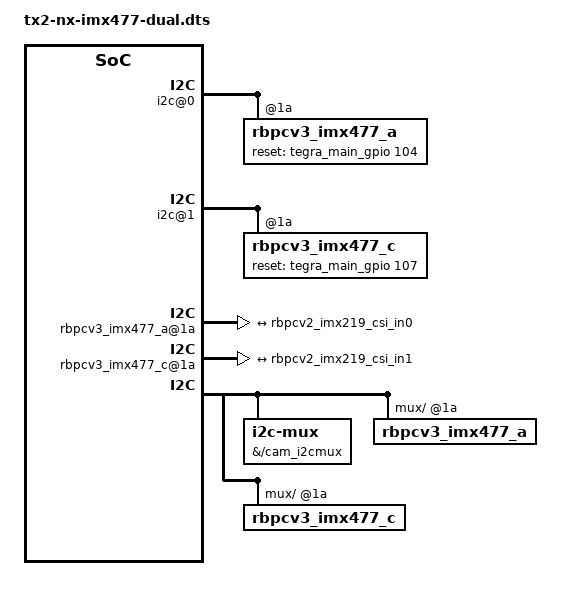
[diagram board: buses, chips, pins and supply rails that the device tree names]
/*
This file allows use of IMX477 on TX2 NX.

Steps to use this file:
1. copy to TX2 NX
2. `dtc -o /boot/tx2-nx-imx477-dual.dtbo tx2-nx-imx477-dual.dts`
3. use jetson-io to apply
	- one way: `python3 /opt/nvidia/jetson-io/config-by-hardware.py -n 2=tx2-nx-imx477-dual`

If you're using a Xavier NX carrier board, and you're seeing "Multiple APP partitions mounted!"
(make sure to surface an error if you're seeing nothing, for example because of `jetson-io.py`'s use of `curses`),
try adding `if not mount: continue` to `_board_partition_is_mounted`.

To get translated sources:
1. go to https://developer.nvidia.com/embedded/linux-tegra-r3274
2. download "Driver Package (BSP) Sources" for TX2: https://developer.nvidia.com/downloads/embedded/l4t/r32_release_v7.4/sources/t186/public_sources.tbz2
3. unzip `public_sources.tbz2`
4. `cd public_sources/Linux_for_Tegra/source/public/kernel_src/hardware`
5. unzip `kernel_src.tbz2`
6. `cd kernel_src/hardware`

Internal Names:
Jakku	Xavier NX Developer Kit
Lanai	TX2 NX
Porg	Jetson Nano Developer Kit, or Jetson Nano	https://forums.developer.nvidia.com/t/confusing-in-board-name-for-the-jetson-nano-developer-kit/79547/2
Quill	TX2

Part Numbers:
https://developer.nvidia.com/embedded/faq#jetson-part-numbers
Seems like ...-.xxxx-....-... becomes pxxxx.
p3448	Jetson Nano (SODIMM male)
p3449	Jetson Nano carrier board (SODIMM female)
p3450	Jetson Nano Developer Kit (p3448 + p3449)
p3509	Jetson Xavier NX carrier board (SODIMM female)
p3636	Jetson TX2 NX (SODIMM male)
p3668	Jetson Xavier NX
*/

/dts-v1/;
/plugin/;

/ {
	overlay-name = "tx2-nx-imx477-dual";
	jetson-header-name = "Jetson Nano CSI Connector";
	compatible = "nvidia,p3449-0000+p3636-0001", "nvidia,p3509-0000+p3636-0001";

	/*
	This is a translation of
	nvidia/platform/t19x/jakku/kernel-dts/common/tegra194-camera-jakku-rbpcv3-imx477.dtsi
	*/
	fragment@0 {
		//target = <&i2c_0>;
		target-path = "/cam_i2cmux/i2c@0";
		__overlay__ {
			rbpcv3_imx477_a@1a {
				//reset-gpios = <&tegra_main_gpio CAM0_PWDN GPIO_ACTIVE_HIGH>;
				reset-gpios = <&tegra_main_gpio 104 0>;
			};
		};
	};
	fragment@1 {
		//target = <&i2c_1>;
		target-path = "/cam_i2cmux/i2c@1";
		__overlay__ {
			rbpcv3_imx477_c@1a {
				//reset-gpios = <&tegra_main_gpio CAM1_PWDN GPIO_ACTIVE_HIGH>;
				reset-gpios = <&tegra_main_gpio 107 0>;
			};
		};
	};

	/*
	This is a translation of
	nvidia/platform/t19x/jakku/kernel-dts/common/tegra194-camera-rbpcv3-imx477.dtsi
	*/
	fragment@4 {
		target-path = "/cam_i2cmux/i2c@0/rbpcv3_imx477_a@1a";
		__overlay__ {
			compatible = "ridgerun,imx477";
			/* I2C device address */
			reg = <0x1a>;

			/* V4L2 device node location */
			devnode = "video0";

			/* Physical dimensions of sensor */
			physical_w = "7.564";
			physical_h = "5.476";

			sensor_model = "imx477";

			use_sensor_mode_id = "true";

			/**
			* ==== Modes ====
			* A modeX node is required to support v4l2 driver
			* implementation with NVIDIA camera software stack
			*
			* == Signal properties ==
			*
			* phy_mode = "";
			* PHY mode used by the MIPI lanes for this device
			*
			* tegra_sinterface = "";
			* CSI Serial interface connected to tegra
			* Incase of virtual HW devices, use virtual
			* For SW emulated devices, use host
			*
			* pix_clk_hz = "";
			* Sensor pixel clock used for calculations like exposure and framerate
			*
			* readout_orientation = "0";
			* Based on camera module orientation.
			* Only change readout_orientation if you specifically
			* Program a different readout order for this mode
			*
			* == Image format Properties ==
			*
			* active_w = "";
			* Pixel active region width
			*
			* active_h = "";
			* Pixel active region height
			*
			* pixel_t = "";
			* The sensor readout pixel pattern
			*
			* line_length = "";
			* Pixel line length (width) for sensor mode.
			*
			* == Source Control Settings ==
			*
			* Gain factor used to convert fixed point integer to float
			* Gain range [min_gain/gain_factor, max_gain/gain_factor]
			* Gain step [step_gain/gain_factor is the smallest step that can be configured]
			* Default gain [Default gain to be initialized for the control.
			*     use min_gain_val as default for optimal results]
			* Framerate factor used to convert fixed point integer to float
			* Framerate range [min_framerate/framerate_factor, max_framerate/framerate_factor]
			* Framerate step [step_framerate/framerate_factor is the smallest step that can be configured]
			* Default Framerate [Default framerate to be initialized for the control.
			*     use max_framerate to get required performance]
			* Exposure factor used to convert fixed point integer to float
			* For convenience use 1 sec = 1000000us as conversion factor
			* Exposure range [min_exp_time/exposure_factor, max_exp_time/exposure_factor]
			* Exposure step [step_exp_time/exposure_factor is the smallest step that can be configured]
			* Default Exposure Time [Default exposure to be initialized for the control.
			*     Set default exposure based on the default_framerate for optimal exposure settings]
			*
			* gain_factor = ""; (integer factor used for floating to fixed point conversion)
			* min_gain_val = ""; (ceil to integer)
			* max_gain_val = ""; (ceil to integer)
			* step_gain_val = ""; (ceil to integer)
			* default_gain = ""; (ceil to integer)
			* Gain limits for mode
			*
			* exposure_factor = ""; (integer factor used for floating to fixed point conversion)
			* min_exp_time = ""; (ceil to integer)
			* max_exp_time = ""; (ceil to integer)
			* step_exp_time = ""; (ceil to integer)
			* default_exp_time = ""; (ceil to integer)
			* Exposure Time limits for mode (sec)
			*
			* framerate_factor = ""; (integer factor used for floating to fixed point conversion)
			* min_framerate = ""; (ceil to integer)
			* max_framerate = ""; (ceil to integer)
			* step_framerate = ""; (ceil to integer)
			* default_framerate = ""; (ceil to integer)
			* Framerate limits for mode (fps)
			*
			* embedded_metadata_height = "";
			* Sensor embedded metadata height in units of rows.
			* If sensor does not support embedded metadata value should be 0.
			*/
			mode0 { /* IMX477_MODE_3840x2160 */
				mclk_khz = "24000";
				num_lanes = "2";
				tegra_sinterface = "serial_a";
				phy_mode = "DPHY";
				discontinuous_clk = "no";
				dpcm_enable = "false";
				cil_settletime = "0";

				active_w = "3840";
				active_h = "2160";
				mode_type = "bayer";
				pixel_phase = "rggb";
				csi_pixel_bit_depth = "10";
				readout_orientation = "90";
				line_length = "11200";
				inherent_gain = "1";
				mclk_multiplier = "80";
				pix_clk_hz = "840000000";

				gain_factor = "16";
				framerate_factor = "1000000";
				exposure_factor = "1000000";
				min_gain_val = "16"; /* 1.00x */
				max_gain_val = "356"; /* 22x */
				step_gain_val = "1";
				default_gain = "16"; /* 1.00x */
				min_hdr_ratio = "1";
				max_hdr_ratio = "1";
				min_framerate = "2000000"; /* 2.0 fps */
				max_framerate = "30000000"; /* 30.0 fps */
				step_framerate = "1";
				default_framerate = "30000000"; /* 30.0 fps */
				min_exp_time = "13"; /* us */
				max_exp_time = "683709"; /* us */
				step_exp_time = "1";
				default_exp_time = "2495"; /* us */

				embedded_metadata_height = "2";
			};
			mode1 { /* IMX477_MODE_1920X1080 */
				mclk_khz = "24000";
				num_lanes = "2";
				tegra_sinterface = "serial_a";
				phy_mode = "DPHY";
				discontinuous_clk = "no";
				dpcm_enable = "false";
				cil_settletime = "0";

				active_w = "1920";
				active_h = "1080";
				mode_type = "bayer";
				pixel_phase = "rggb";
				csi_pixel_bit_depth = "10";
				readout_orientation = "90";
				line_length = "7000";
				inherent_gain = "1";
				mclk_multiplier = "80";
				pix_clk_hz = "840000000";

				gain_factor = "16";
				framerate_factor = "1000000";
				exposure_factor = "1000000";
				min_gain_val = "16"; /* 1.00x */
				max_gain_val = "356"; /* 22x */
				step_gain_val = "1";
				default_gain = "16"; /* 1.00x */
				min_hdr_ratio = "1";
				max_hdr_ratio = "1";
				min_framerate = "2000000"; /* 2.0 fps */
				max_framerate = "60000000"; /* 60.0 fps */
				step_framerate = "1";
				default_framerate = "60000000"; /* 60.0 fps */
				min_exp_time = "13"; /* us */
				max_exp_time = "683709"; /* us */
				step_exp_time = "1";
				default_exp_time = "2495"; /* us */

				embedded_metadata_height = "2";
			};

			ports {
				#address-cells = <1>;
				#size-cells = <0>;

				port@0 {
					reg = <0>;
					rbpcv3_imx477_dual_out0: endpoint {
						port-index = <0>;
						bus-width = <2>;
						remote-endpoint = <&rbpcv2_imx219_csi_in0 >; // /host1x/nvcsi@150c0000/channel@0/ports/port@0/endpoint@0
					};
				};
			};
		};
	};

	fragment@5 {
		target-path = "/cam_i2cmux/i2c@1/rbpcv3_imx477_c@1a";
		__overlay__ {
			compatible = "ridgerun,imx477";
			/* I2C device address */
			reg = <0x1a>;

			/* V4L2 device node location */
			devnode = "video1";

			/* Physical dimensions of sensor */
			physical_w = "7.564";
			physical_h = "5.476";

			sensor_model = "imx477";

			use_sensor_mode_id = "true";

			mode0 { /* IMX477_MODE_3840x2160 */
				mclk_khz = "24000";
				num_lanes = "2";
				tegra_sinterface = "serial_c";
				phy_mode = "DPHY";
				discontinuous_clk = "no";
				dpcm_enable = "false";
				cil_settletime = "0";

				active_w = "3840";
				active_h = "2160";
				mode_type = "bayer";
				pixel_phase = "rggb";
				csi_pixel_bit_depth = "10";
				readout_orientation = "90";
				line_length = "11200";
				inherent_gain = "1";
				mclk_multiplier = "80";
				pix_clk_hz = "840000000";

				gain_factor = "16";
				framerate_factor = "1000000";
				exposure_factor = "1000000";
				min_gain_val = "16"; /* 1.00x */
				max_gain_val = "356"; /* 22x */
				step_gain_val = "1";
				default_gain = "16"; /* 1.00x */
				min_hdr_ratio = "1";
				max_hdr_ratio = "1";
				min_framerate = "2000000"; /* 2.0 fps */
				max_framerate = "30000000"; /* 30.0 fps */
				step_framerate = "1";
				default_framerate = "30000000"; /* 30.0 fps */
				min_exp_time = "13"; /* us */
				max_exp_time = "683709"; /* us */
				step_exp_time = "1";
				default_exp_time = "2495"; /* us */

				embedded_metadata_height = "2";
			};
			mode1 { /* IMX477_MODE_1920X1080 */
				mclk_khz = "24000";
				num_lanes = "2";
				tegra_sinterface = "serial_c";
				phy_mode = "DPHY";
				discontinuous_clk = "no";
				dpcm_enable = "false";
				cil_settletime = "0";

				active_w = "1920";
				active_h = "1080";
				mode_type = "bayer";
				pixel_phase = "rggb";
				csi_pixel_bit_depth = "10";
				readout_orientation = "90";
				line_length = "7000";
				inherent_gain = "1";
				mclk_multiplier = "80";
				pix_clk_hz = "840000000";

				gain_factor = "16";
				framerate_factor = "1000000";
				exposure_factor = "1000000";
				min_gain_val = "16"; /* 1.00x */
				max_gain_val = "356"; /* 22x */
				step_gain_val = "1";
				default_gain = "16"; /* 1.00x */
				min_hdr_ratio = "1";
				max_hdr_ratio = "1";
				min_framerate = "2000000"; /* 2.0 fps */
				max_framerate = "60000000"; /* 60.0 fps */
				step_framerate = "1";
				default_framerate = "60000000"; /* 60.0 fps */
				min_exp_time = "13"; /* us */
				max_exp_time = "683709"; /* us */
				step_exp_time = "1";
				default_exp_time = "2495"; /* us */

				embedded_metadata_height = "2";
			};

			ports {
				#address-cells = <1>;
				#size-cells = <0>;

				port@0 {
					reg = <0>;
					rbpcv3_imx477_out1: endpoint {
						port-index = <2>;
						bus-width = <2>;
						remote-endpoint = <&rbpcv2_imx219_csi_in1>; // /host1x/nvcsi@150c0000/channel@1/ports/port@0/endpoint@2
					};
				};
			};
		};
	};

	fragment@6 {
		target-path = "/tegra-camera-platform";
		__overlay__ {
			/**
			* Physical settings to calculate max ISO BW
			*
			* num_csi_lanes = <>;
			* Total number of CSI lanes when all cameras are active
			*
			* max_lane_speed = <>;
			* Max lane speed in Kbit/s
			*
			* min_bits_per_pixel = <>;
			* Min bits per pixel
			*
			* vi_peak_byte_per_pixel = <>;
			* Max byte per pixel for the VI ISO case
			*
			* vi_bw_margin_pct = <>;
			* Vi bandwidth margin in percentage
			*
			* max_pixel_rate = <>;
			* Max pixel rate in Kpixel/s for the ISP ISO case
			*
			* isp_peak_byte_per_pixel = <>;
			* Max byte per pixel for the ISP ISO case
			*
			* isp_bw_margin_pct = <>;
			* Isp bandwidth margin in percentage
			*/
			//num_csi_lanes = <4>;
			//max_lane_speed = <1500000>;
			//min_bits_per_pixel = <10>;
			//vi_peak_byte_per_pixel = <2>;
			//vi_bw_margin_pct = <25>;
			max_pixel_rate = <7500000>;
			//isp_peak_byte_per_pixel = <5>;
			//isp_bw_margin_pct = <25>;

			/**
			 * The general guideline for naming badge_info contains 3 parts, and is as follows,
			 * The first part is the camera_board_id for the module; if the module is in a FFD
			 * platform, then use the platform name for this part.
			 * The second part contains the position of the module, ex. "rear" or "front".
			 * The third part contains the last 6 characters of a part number which is found
			 * in the module's specsheet from the vendor.
			 */
			modules {
				module0 {
					badge = "lanai_front_IMX477";
					//position = "front";
					//orientation = "1";
					drivernode0 {
						//pcl_id = "v4l2_sensor";
						devname = "imx477 9-001a";
						proc-device-tree = "/proc/device-tree/cam_i2cmux/i2c@0/rbpcv3_imx477_a@1a";
					};
				};
				module1 {
					badge = "lanai_rear_IMX477";
					//position = "rear";
					//orientation = "1";
					drivernode0 {
						//pcl_id = "v4l2_sensor";
						devname = "imx477 10-001a";
						proc-device-tree = "/proc/device-tree/cam_i2cmux/i2c@1/rbpcv3_imx477_c@1a";
					};
				};
			};
		};
	};

	/*
	This is a translation of
	nvidia/platform/t19x/jakku/kernel-dts/tegra194-p3668-all-p3509-0000-camera-imx477-dual.dts
	*/
	fragment@7 {
		target-path = "/cam_i2cmux";
		__overlay__ {
			i2c@0 {
				rbpcv3_imx477_a@1a {
					status = "okay";
				};
				rbpcv2_imx219_a@10 {
					status = "disabled";
				};
			};
			i2c@1 {
				rbpcv3_imx477_c@1a {
					status = "okay";
				};
				rbpcv2_imx219_c@10 {
					status = "disabled";
				};
			};
		};
	};
	fragment@8 {
		target-path = "/tegra-camera-platform/modules";
		__overlay__ {
			module0 {
				status = "okay";
				//badge = "lanai_front_RBPCV3";
				//position = "front";
				//orientation = "1";
				drivernode0 {
					status = "okay";
					//pcl_id = "v4l2_sensor";
					//devname = "imx477 9-001a";
					//proc-device-tree = "/proc/device-tree/cam_i2cmux/i2c@0/rbpcv3_imx477_a@1a";
				};
			};
			module1 {
				status = "okay";
				//badge = "lanai_rear_RBPCV3";
				//position = "rear";
				//orientation = "1";
				drivernode0 {
					status = "okay";
					//pcl_id = "v4l2_sensor";
					//devname = "imx477 10-001a";
					//proc-device-tree = "/proc/device-tree/cam_i2cmux/i2c@1/rbpcv3_imx477_c@1a";
				};
			};
		};
	};
	fragment@9 {
		target-path = "/host1x";
		__overlay__ {
			vi@15700000 {
				ports {
					port@0 {
						endpoint {
							status = "okay";
							//port-index = <0>;
							//bus-width = <2>;
							//remote-endpoint = <&rbpcv3_imx477_csi_out0>;
						};
					};
					port@1 {
						endpoint {
							status = "okay";
							//port-index = <2>;
							//bus-width = <2>;
							//remote-endpoint = <&rbpcv3_imx477_csi_out1>;
						};
					};
				};
			};
			nvcsi@150c0000 {
				channel@0 {
					ports {
						port@0 {
							endpoint@0 {
								status = "okay";
								//port-index = <0>;
								//bus-width = <2>;
								remote-endpoint = <&rbpcv3_imx477_dual_out0>; // /cam_i2cmux/i2c@0/rbpcv3_imx477_a@1a/ports/port@0/endpoint
							};
						};
						port@1 {
							endpoint@1 {
								status = "okay";
							};
						};
					};
				};
				channel@1 {
					ports {
						port@0 {
							endpoint@2 {
								status = "okay";
								//port-index = <2>;
								//bus-width = <2>;
								remote-endpoint = <&rbpcv3_imx477_out1>; // /cam_i2cmux/i2c@1/rbpcv3_imx477_c@1a/ports/port@0/endpoint
							};
						};
						port@1 {
							endpoint@3 {
								status = "okay";
							};
						};
					};
				};
			};
		};
	};
};
